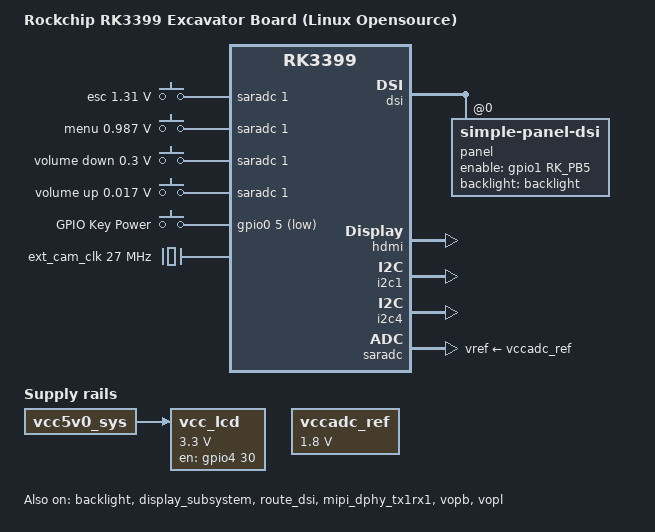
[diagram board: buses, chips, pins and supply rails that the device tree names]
/*
 * Copyright (c) 2019 Fuzhou Rockchip Electronics Co., Ltd
 *
 * This file is dual-licensed: you can use it either under the terms
 * of the GPL or the X11 license, at your option. Note that this dual
 * licensing only applies to this file, and not this project as a
 * whole.
 *
 *  a) This file is free software; you can redistribute it and/or
 *     modify it under the terms of the GNU General Public License as
 *     published by the Free Software Foundation; either version 2 of the
 *     License, or (at your option) any later version.
 *
 *     This file is distributed in the hope that it will be useful,
 *     but WITHOUT ANY WARRANTY; without even the implied warranty of
 *     MERCHANTABILITY or FITNESS FOR A PARTICULAR PURPOSE.  See the
 *     GNU General Public License for more details.
 *
 * Or, alternatively,
 *
 *  b) Permission is hereby granted, free of charge, to any person
 *     obtaining a copy of this software and associated documentation
 *     files (the "Software"), to deal in the Software without
 *     restriction, including without limitation the rights to use,
 *     copy, modify, merge, publish, distribute, sublicense, and/or
 *     sell copies of the Software, and to permit persons to whom the
 *     Software is furnished to do so, subject to the following
 *     conditions:
 *
 *     The above copyright notice and this permission notice shall be
 *     included in all copies or substantial portions of the Software.
 *
 *     THE SOFTWARE IS PROVIDED "AS IS", WITHOUT WARRANTY OF ANY KIND,
 *     EXPRESS OR IMPLIED, INCLUDING BUT NOT LIMITED TO THE WARRANTIES
 *     OF MERCHANTABILITY, FITNESS FOR A PARTICULAR PURPOSE AND
 *     NONINFRINGEMENT. IN NO EVENT SHALL THE AUTHORS OR COPYRIGHT
 *     HOLDERS BE LIABLE FOR ANY CLAIM, DAMAGES OR OTHER LIABILITY,
 *     WHETHER IN AN ACTION OF CONTRACT, TORT OR OTHERWISE, ARISING
 *     FROM, OUT OF OR IN CONNECTION WITH THE SOFTWARE OR THE USE OR
 *     OTHER DEALINGS IN THE SOFTWARE.
 */

/dts-v1/;

#include "rk3399-excavator-sapphire.dtsi"
#include "rk3399-linux.dtsi"
#include <dt-bindings/input/input.h>

/ {
	model = "Rockchip RK3399 Excavator Board (Linux Opensource)";
	compatible = "rockchip,rk3399-excavator-linux", "rockchip,rk3399";

	dsi84 {
		compatible = "iei-dsi84";
		//dsi84,mode = 1 set in dts,mode = 0 default 10.1 inches 14AXLCDG101S
		dsi84,mode = <0>;
		dsi84,x09 = <0x00>;
		dsi84,x0a = <0x05>;
		dsi84,x0b = <0x28>;
		dsi84,x0d = <0x00>;
		dsi84,x10 = <0x26>;
		dsi84,x11 = <0x00>;
		dsi84,x12 = <0x59>;
		dsi84,x13 = <0x00>;
		dsi84,x18 = <0x6c>;
		dsi84,x19 = <0x00>;
		dsi84,x1a = <0x43>;
		dsi84,x1b = <0x00>;
		dsi84,x20 = <0x80>;
		dsi84,x21 = <0x07>;
		dsi84,x22 = <0x00>;
		dsi84,x23 = <0x00>;
		dsi84,x24 = <0x00>;
		dsi84,x25 = <0x00>;
		dsi84,x26 = <0x00>;
		dsi84,x27 = <0x00>;
		dsi84,x28 = <0x21>;
		dsi84,x29 = <0x00>;
		dsi84,x2a = <0x00>;
		dsi84,x2b = <0x00>;
		dsi84,x2c = <0x18>;
		dsi84,x2d = <0x00>;
		dsi84,x2e = <0x00>;
		dsi84,x2f = <0x00>;
		dsi84,x30 = <0x06>;
		dsi84,x31 = <0x00>;
		dsi84,x32 = <0x00>;
		dsi84,x33 = <0x00>;
		dsi84,x34 = <0x10>;
		dsi84,x35 = <0x00>;
		dsi84,x36 = <0x00>;
		dsi84,x37 = <0x00>;
		dsi84,x38 = <0x00>;
		dsi84,x39 = <0x00>;
		dsi84,x3a = <0x00>;
		dsi84,x3b = <0x00>;
		dsi84,x3c = <0x00>;
		dsi84,x3d = <0x00>;
		dsi84,x3e = <0x00>;
	};

	vcc_lcd: vcc-lcd {
		compatible = "regulator-fixed";
		regulator-name = "vcc_lcd";
		gpio = <&gpio4 30 GPIO_ACTIVE_HIGH>;
		startup-delay-us = <20000>;
		enable-active-high;
		regulator-min-microvolt = <3300000>;
		regulator-max-microvolt = <3300000>;
		regulator-boot-on;
		vin-supply = <&vcc5v0_sys>;
	};

	vccadc_ref: vccadc-ref {
		compatible = "regulator-fixed";
		regulator-name = "vcc1v8_sys";
		regulator-always-on;
		regulator-boot-on;
		regulator-min-microvolt = <1800000>;
		regulator-max-microvolt = <1800000>;
	};

	adc_keys: adc-keys {
		compatible = "adc-keys";
		io-channels = <&saradc 1>;
		io-channel-names = "buttons";
		poll-interval = <100>;
		keyup-threshold-microvolt = <1800000>;

		esc-key {
			linux,code = <KEY_ESC>;
			label = "esc";
			press-threshold-microvolt = <1310000>;
		};

		menu-key {
			linux,code = <KEY_MENU>;
			label = "menu";
			press-threshold-microvolt = <987000>;
		};

		vol-down-key {
			linux,code = <KEY_VOLUMEDOWN>;
			label = "volume down";
			press-threshold-microvolt = <300000>;
		};

		vol-up-key {
			linux,code = <KEY_VOLUMEUP>;
			label = "volume up";
			press-threshold-microvolt = <17000>;
		};
	};

	gpio_keys: gpio-keys {
		compatible = "gpio-keys";
		#address-cells = <1>;
		#size-cells = <0>;
		autorepeat;

		pinctrl-names = "default";
		pinctrl-0 = <&pwrbtn>;

		button@0 {
			gpios = <&gpio0 5 GPIO_ACTIVE_LOW>;
			linux,code = <KEY_POWER>;
			label = "GPIO Key Power";
			linux,input-type = <1>;
			gpio-key,wakeup = <1>;
			debounce-interval = <100>;
		};
	};

	ext_cam_clk: external-camera-clock {
		compatible = "fixed-clock";
		clock-frequency = <27000000>;
		clock-output-names = "CLK_CAMERA_27MHZ";
		#clock-cells = <0>;
	};

	/delete-node/ rt5651-sound;
	rt5651_sound: rt5651-sound {
		compatible = "rockchip,multicodecs-card";
		rockchip,card-name = "realtek,rt5651-codec";
		rockchip,codec-hp-det;
		rockchip,mclk-fs = <256>;
		rockchip,cpu = <&i2s0>;
		rockchip,codec = <&rt5651>;
		status = "okay";
	};

	test_power: test-power {
		status = "okay";
	};
};

&backlight {
	status = "okay";
	enable-gpios = <&gpio4 29 GPIO_ACTIVE_HIGH>;
};

&display_subsystem {
	status = "okay";
};

&dsi {
	status = "okay";
	panel@0 {
		compatible = "simple-panel-dsi";
		reg = <0>;
		backlight = <&backlight>;
		enable-gpios = <&gpio1 RK_PB5 GPIO_ACTIVE_HIGH>;

		dsi,flags = <(MIPI_DSI_MODE_VIDEO | MIPI_DSI_MODE_VIDEO_BURST | MIPI_DSI_MODE_VIDEO_SYNC_PULSE)>;
		dsi,format = <MIPI_DSI_FMT_RGB888>;
		dsi,lanes = <4>;
		//pinctrl-names = "default";
		//pinctrl-0 = <&lcd_sw_gpios>;

		display-timings {
			native-mode = <&timing0>;
			timing0: timing-default {
				clock-frequency = <51200000>;
				hactive = <1024>;
				vactive = <600>;
				hback-porch = <80>;
				hfront-porch = <220>;
				vback-porch = <10>;
				vfront-porch = <20>;
				hsync-len = <20>;
				vsync-len = <5>;
				hsync-active = <0>;
				vsync-active = <0>;
				de-active = <0>;
				pixelclk-active = <0>;
			};
			/* 10.1 inches 14AXLCDG101SN1 */
			timing1: timing-14axlcdg101sn1 {
				clock-frequency = <51200000>;
				hactive = <1024>;
				vactive = <600>;
				hback-porch = <80>;
				hfront-porch = <220>;
				vback-porch = <10>;
				vfront-porch = <20>;
				hsync-len = <20>;
				vsync-len = <5>;
				hsync-active = <0>;
				vsync-active = <0>;
				de-active = <0>;
				pixelclk-active = <0>;
			};
			/* 15.6 inches NT156FHM-N61 */
			timing2: timing-nt156fhmn61 {
				clock-frequency = <148500000>;
				hactive = <1920>;
				vactive = <1080>;
				hback-porch = <32>;
				hfront-porch = <230>;
				vback-porch = <3>;
				vfront-porch = <21>;
				hsync-len = <48>;
				vsync-len = <6>;
				hsync-active = <0>;
				vsync-active = <0>;
				de-active = <0>;
				pixelclk-active = <0>;
			};
		};
	};
};

/* dsi in vopl */
&dsi_in_vopb {
	status = "disabled";
};

&route_dsi {
	status = "okay";
	connect = <&vopl_out_dsi>;
};

&edp {
	status = "disabled";
	force-hpd;

	ports {
		port@1 {
			reg = <1>;

			edp_out: endpoint {
				//remote-endpoint = <&panel_in>;
			};
		};
	};
};

&edp_in_vopb {
	status = "disabled";
};

&hdmi {
	status = "okay";
};

&hdmi_in_vopl {
	status = "disabled";
};

&i2c1 {
	status = "okay";
};

&i2c4 {
	status = "okay";
};

&iep {
	status = "disbaled";
};

&iep_mmu {
	status = "disabled";
};

&isp0_mmu {
	status = "okay";
};

&isp1_mmu {
	status = "okay";
};

&mipi_dphy_rx0 {
	status = "disabled";

	ports {
		#address-cells = <1>;
		#size-cells = <0>;

		port@0 {
			reg = <0>;
			#address-cells = <1>;
			#size-cells = <0>;

			mipi_in_ucam0: endpoint@1 {
				reg = <1>;
				//remote-endpoint = <&ucam_out0>;
				data-lanes = <1 2>;
			};
		};

		port@1 {
			reg = <1>;
			#address-cells = <1>;
			#size-cells = <0>;

			dphy_rx0_out: endpoint@0 {
				reg = <0>;
				remote-endpoint = <&isp0_mipi_in>;
			};
		};
	};
};

&mipi_dphy_tx1rx1 {
	status = "okay";

	ports {
		#address-cells = <1>;
		#size-cells = <0>;

		port@0 {
			reg = <0>;
			#address-cells = <1>;
			#size-cells = <0>;

			mipi_in_ucam1: endpoint@1 {
				reg = <1>;
				/* Unlinked camera */
				//remote-endpoint = <&ucam_out1>;
				data-lanes = <1 2>;
			};
		};

		port@1 {
			reg = <1>;
			#address-cells = <1>;
			#size-cells = <0>;

			dphy_tx1rx1_out: endpoint@0 {
				reg = <0>;
				remote-endpoint = <&isp1_mipi_in>;
			};
		};
	};
};

&pcie_phy {
	status = "disabled";
};

&pcie0 {
	status = "disabled";
};

&rkisp1_0 {
	status = "disabled";

	port {
		#address-cells = <1>;
		#size-cells = <0>;

		isp0_mipi_in: endpoint@0 {
			reg = <0>;
			remote-endpoint = <&dphy_rx0_out>;
		};
	};
};

&rkisp1_1 {
	status = "disabled";

	port {
		#address-cells = <1>;
		#size-cells = <0>;

		isp1_mipi_in: endpoint@0 {
			reg = <0>;
			remote-endpoint = <&dphy_tx1rx1_out>;
		};
	};
};

&route_edp {
	status = "disabled";
};

&saradc {
	vref-supply = <&vccadc_ref>;
};

&vopb {
	assigned-clocks = <&cru DCLK_VOP0_DIV>;
	assigned-clock-parents = <&cru PLL_CPLL>;
	status = "okay";
};

&vopb_mmu {
	status = "okay";
};

&vopl {
	assigned-clocks = <&cru DCLK_VOP1_DIV>;
	assigned-clock-parents = <&cru PLL_CPLL>;
	status = "okay";
};

&vopl_mmu {
	status = "okay";
};

&pinctrl {
	buttons {
		pwrbtn: pwrbtn {
			rockchip,pins = <0 5 RK_FUNC_GPIO &pcfg_pull_up>;
		};
	};

	hdmiin {
		hdmiin_gpios: hdmiin-gpios {
			rockchip,pins =
				<2 5 RK_FUNC_GPIO &pcfg_output_high>,
				<2 6 RK_FUNC_GPIO &pcfg_output_high>,
				<2 7 RK_FUNC_GPIO &pcfg_pull_none>,
				<2 8 RK_FUNC_GPIO &pcfg_output_high>,
				<2 9 RK_FUNC_GPIO &pcfg_output_high>,
				<2 10 RK_FUNC_GPIO &pcfg_output_low>,
				<2 12 RK_FUNC_GPIO &pcfg_pull_none>;
		};
	};
};

/* DON'T PUT ANYTHING BELOW HERE.  PUT IT ABOVE PINCTRL */
/* DON'T PUT ANYTHING BELOW HERE.  PUT IT ABOVE PINCTRL */
/* DON'T PUT ANYTHING BELOW HERE.  PUT IT ABOVE PINCTRL */
